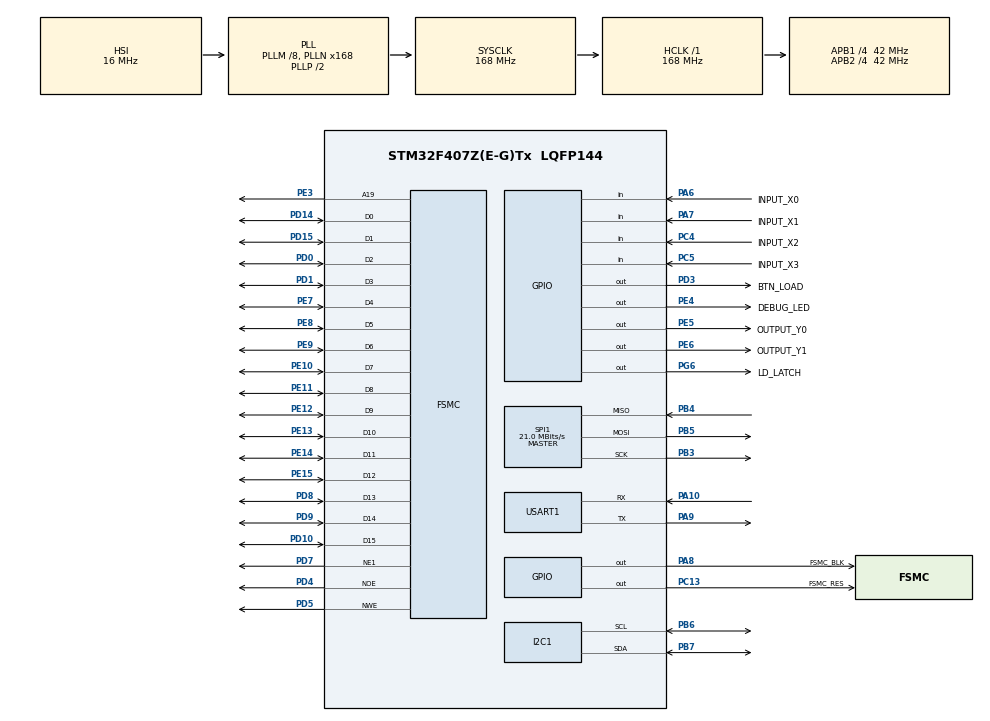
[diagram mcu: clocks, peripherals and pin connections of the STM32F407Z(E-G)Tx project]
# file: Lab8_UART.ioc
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FSMC.AddressSetupTime1=0xf
FSMC.BusTurnAroundDuration1=0
FSMC.DataSetupTime1=60
FSMC.ExtendedAddressSetupTime1=8
FSMC.ExtendedBusTurnAroundDuration1=0
FSMC.ExtendedDataSetupTime1=9
FSMC.ExtendedMode1=FSMC_EXTENDED_MODE_ENABLE
I2C1.I2C_Mode=I2C_Standard
Mcu.Family=STM32F4
Mcu.Name=STM32F407Z(E-G)Tx
Mcu.Package=LQFP144
NVIC.PriorityGroup=NVIC_PRIORITYGROUP_4
NVIC.TIM2_IRQn=true\:0\:0\:false\:false\:true\:true\:true\:true
NVIC.TIM4_IRQn=true\:0\:0\:false\:false\:true\:true\:true\:true
NVIC.USART1_IRQn=true\:0\:0\:false\:false\:true\:true\:true\:true
PA10.Mode=Asynchronous
PA10.Signal=USART1_RX
PA13.Mode=Serial_Wire
PA13.Signal=SYS_JTMS-SWDIO
PA14.Mode=Serial_Wire
PA14.Signal=SYS_JTCK-SWCLK
PA6.GPIO_Label=INPUT_X0
PA6.Signal=GPIO_Input
PA7.GPIO_Label=INPUT_X1
PA7.Signal=GPIO_Input
PA8.GPIO_Label=FSMC_BLK
PA8.Signal=GPIO_Output
PA9.Mode=Asynchronous
PA9.Signal=USART1_TX
PB3.Mode=Full_Duplex_Master
PB3.Signal=SPI1_SCK
PB4.Mode=Full_Duplex_Master
PB4.Signal=SPI1_MISO
PB5.Mode=Full_Duplex_Master
PB5.Signal=SPI1_MOSI
PB6.Mode=I2C
PB6.Signal=I2C1_SCL
PB7.Mode=I2C
PB7.Signal=I2C1_SDA
PC13-ANTI_TAMP.GPIO_Label=FSMC_RES
PC13-ANTI_TAMP.Signal=GPIO_Output
PC4.GPIO_Label=INPUT_X2
PC4.Signal=GPIO_Input
PC5.GPIO_Label=INPUT_X3
PC5.Signal=GPIO_Input
PD0.Signal=FSMC_D2_DA2
PD1.Signal=FSMC_D3_DA3
PD10.Signal=FSMC_D15_DA15
PD14.Signal=FSMC_D0_DA0
PD15.Signal=FSMC_D1_DA1
PD3.GPIO_Label=BTN_LOAD
PD3.Signal=GPIO_Output
PD4.Signal=FSMC_NOE
PD5.Signal=FSMC_NWE
PD7.Mode=NorPsramChipSelect1_1
PD7.Signal=FSMC_NE1
PD8.Signal=FSMC_D13_DA13
PD9.Signal=FSMC_D14_DA14
PE10.Signal=FSMC_D7_DA7
PE11.Signal=FSMC_D8_DA8
PE12.Signal=FSMC_D9_DA9
PE13.Signal=FSMC_D10_DA10
PE14.Signal=FSMC_D11_DA11
PE15.Signal=FSMC_D12_DA12
PE3.Signal=FSMC_A19
PE4.GPIO_Label=DEBUG_LED
PE4.Signal=GPIO_Output
PE5.GPIO_Label=OUTPUT_Y0
PE5.Signal=GPIO_Output
PE6.GPIO_Label=OUTPUT_Y1
PE6.Signal=GPIO_Output
PE7.Signal=FSMC_D4_DA4
PE8.Signal=FSMC_D5_DA5
PE9.Signal=FSMC_D6_DA6
PG6.GPIO_Label=LD_LATCH
PG6.Signal=GPIO_Output
PH0-OSC_IN.Mode=HSE-External-Oscillator
PH0-OSC_IN.Signal=RCC_OSC_IN
PH1-OSC_OUT.Mode=HSE-External-Oscillator
PH1-OSC_OUT.Signal=RCC_OSC_OUT
ProjectManager.HeapSize=0x200
ProjectManager.StackSize=0x400
ProjectManager.TargetToolchain=STM32CubeIDE
RCC.48MHZClocksFreq_Value=84000000
RCC.AHBFreq_Value=168000000
RCC.APB1CLKDivider=RCC_HCLK_DIV4
RCC.APB1Freq_Value=42000000
RCC.APB1TimFreq_Value=84000000
RCC.APB2CLKDivider=RCC_HCLK_DIV4
RCC.APB2Freq_Value=42000000
RCC.APB2TimFreq_Value=84000000
RCC.CortexFreq_Value=168000000
RCC.HCLKFreq_Value=168000000
RCC.HSE_VALUE=8000000
RCC.HSI_VALUE=16000000
RCC.LSE_VALUE=32768
RCC.PLLM=8
RCC.PLLN=168
RCC.SYSCLKFreq_VALUE=168000000
RCC.SYSCLKSource=RCC_SYSCLKSOURCE_PLLCLK
RCC.VCOOutputFreq_Value=336000000
SH.FSMC_A19.0=FSMC_A19,A19_1
SH.FSMC_D0_DA0.0=FSMC_D0,16b-d1
SH.FSMC_D10_DA10.0=FSMC_D10,16b-d1
SH.FSMC_D11_DA11.0=FSMC_D11,16b-d1
SH.FSMC_D12_DA12.0=FSMC_D12,16b-d1
SH.FSMC_D13_DA13.0=FSMC_D13,16b-d1
SH.FSMC_D14_DA14.0=FSMC_D14,16b-d1
SH.FSMC_D15_DA15.0=FSMC_D15,16b-d1
SH.FSMC_D1_DA1.0=FSMC_D1,16b-d1
SH.FSMC_D2_DA2.0=FSMC_D2,16b-d1
SH.FSMC_D3_DA3.0=FSMC_D3,16b-d1
SH.FSMC_D4_DA4.0=FSMC_D4,16b-d1
SH.FSMC_D5_DA5.0=FSMC_D5,16b-d1
SH.FSMC_D6_DA6.0=FSMC_D6,16b-d1
SH.FSMC_D7_DA7.0=FSMC_D7,16b-d1
SH.FSMC_D8_DA8.0=FSMC_D8,16b-d1
SH.FSMC_D9_DA9.0=FSMC_D9,16b-d1
SH.FSMC_NOE.0=FSMC_NOE,Lcd1
SH.FSMC_NWE.0=FSMC_NWE,Lcd1
SPI1.BaudRatePrescaler=SPI_BAUDRATEPRESCALER_2
SPI1.CalculateBaudRate=21.0 MBits/s
SPI1.Direction=SPI_DIRECTION_2LINES
SPI1.Mode=SPI_MODE_MASTER
SPI1.VirtualType=VM_MASTER
TIM2.Period=100-1
TIM2.Prescaler=840-1
TIM4.Period=100-1
TIM4.Prescaler=840-1
USART1.VirtualMode=VM_ASYNC
VP_TIM2_VS_ClockSourceINT.Mode=Internal
VP_TIM4_VS_ClockSourceINT.Mode=Internal
board=custom

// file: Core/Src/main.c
/* USER CODE BEGIN Header */
/**
 ******************************************************************************
 * @file           : main.c
 * @brief          : Main program body
 ******************************************************************************
 * @attention
 *
 * <h2><center>&copy; Copyright (c) 2023 STMicroelectronics.
 * All rights reserved.</center></h2>
 *
 * This software component is licensed by ST under BSD 3-Clause license,
 * the "License"; You may not use this file except in compliance with the
 * License. You may obtain a copy of the License at:
 *                        opensource.org/licenses/BSD-3-Clause
 *
 ******************************************************************************
 */
/* USER CODE END Header */
#include "main.h"
#include "i2c.h"
#include "spi.h"
#include "tim.h"
#include "usart.h"
#include "gpio.h"
#include "fsmc.h"

/* USER CODE BEGIN Includes */
#include "software_timer.h"
#include "led_7seg.h"
#include "button.h"
#include "lcd.h"
#include "picture.h"
#include "ds3231.h"
#include "uart.h"
/* USER CODE END Includes */

void SystemClock_Config(void);
/* USER CODE BEGIN PFP */
void system_init();
void TestUart();
/* USER CODE END PFP */

int main(void) {

	/* MCU Configuration--------------------------------------------------------*/

	/* Reset of all peripherals, Initializes the Flash interface and the Systick. */
	HAL_Init();

	/* Configure the system clock */
	SystemClock_Config();

	/* Initialize all configured peripherals */
	MX_GPIO_Init();
	MX_TIM2_Init();
	MX_SPI1_Init();
	MX_FSMC_Init();
	MX_I2C1_Init();
	MX_USART1_UART_Init();
	MX_TIM4_Init();
	/* USER CODE BEGIN 2 */
	system_init();
	/* USER CODE END 2 */

	/* Infinite loop */
	while (1) {
		while (!timer2_flag)
			;
		timer2_flag = 0;
		button_scan();
		ds3231_read_time();
		TestUart();
	}
}

void SystemClock_Config(void) {
	RCC_OscInitTypeDef RCC_OscInitStruct = { 0 };
	RCC_ClkInitTypeDef RCC_ClkInitStruct = { 0 };

	/** Configure the main internal regulator output voltage
	 */
	__HAL_RCC_PWR_CLK_ENABLE();
	__HAL_PWR_VOLTAGESCALING_CONFIG(PWR_REGULATOR_VOLTAGE_SCALE1);

	/** Initializes the RCC Oscillators according to the specified parameters
	 * in the RCC_OscInitTypeDef structure.
	 */
	RCC_OscInitStruct.OscillatorType = RCC_OSCILLATORTYPE_HSI;
	RCC_OscInitStruct.HSIState = RCC_HSI_ON;
	RCC_OscInitStruct.HSICalibrationValue = RCC_HSICALIBRATION_DEFAULT;
	RCC_OscInitStruct.PLL.PLLState = RCC_PLL_ON;
	RCC_OscInitStruct.PLL.PLLSource = RCC_PLLSOURCE_HSI;
	RCC_OscInitStruct.PLL.PLLM = 8;
	RCC_OscInitStruct.PLL.PLLN = 168;
	RCC_OscInitStruct.PLL.PLLP = RCC_PLLP_DIV2;
	RCC_OscInitStruct.PLL.PLLQ = 4;
	if (HAL_RCC_OscConfig(&RCC_OscInitStruct) != HAL_OK) {
		Error_Handler();
	}

	/** Initializes the CPU, AHB and APB buses clocks
	 */
	RCC_ClkInitStruct.ClockType = RCC_CLOCKTYPE_HCLK | RCC_CLOCKTYPE_SYSCLK
			| RCC_CLOCKTYPE_PCLK1 | RCC_CLOCKTYPE_PCLK2;
	RCC_ClkInitStruct.SYSCLKSource = RCC_SYSCLKSOURCE_PLLCLK;
	RCC_ClkInitStruct.AHBCLKDivider = RCC_SYSCLK_DIV1;
	RCC_ClkInitStruct.APB1CLKDivider = RCC_HCLK_DIV4;
	RCC_ClkInitStruct.APB2CLKDivider = RCC_HCLK_DIV4;

	if (HAL_RCC_ClockConfig(&RCC_ClkInitStruct, FLASH_LATENCY_5) != HAL_OK) {
		Error_Handler();
	}
}

/* USER CODE BEGIN 4 */
void system_init() {
	led_7seg_init();
	button_init();
	lcd_init();
	uart_init_rs232();

	timer2_init();
	timer2_set(50);
}

void TestUart() {
	if (button_count[12] == 1) {
		uart_rs232_send_num(ds3231_hours);
		uart_rs232_send_string((void*)":");
		uart_rs232_send_num(ds3231_min);
		uart_rs232_send_string((void*)":");
		uart_rs232_send_num(ds3231_sec);
		uart_rs232_send_string((void*)"\n");
	}
}
/* USER CODE END 4 */

void Error_Handler(void) {
	__disable_irq();
	while (1) {
	}
}
